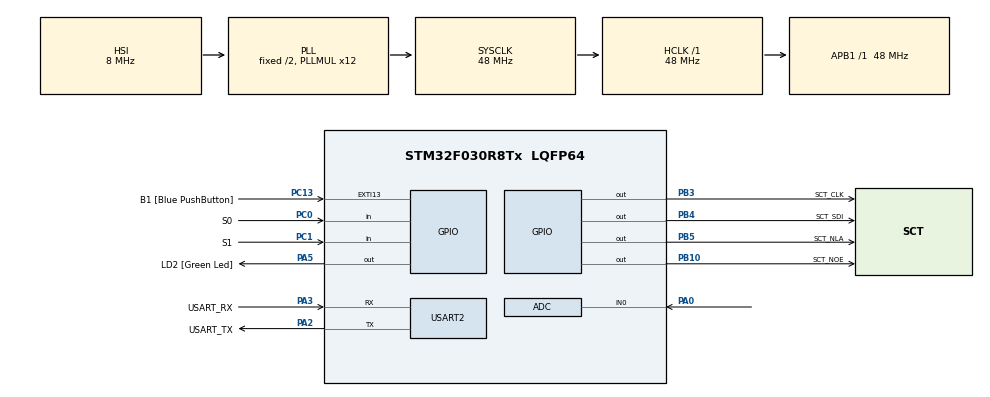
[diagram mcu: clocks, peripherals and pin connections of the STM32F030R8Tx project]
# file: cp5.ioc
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ADC.ContinuousConvMode=ENABLE
ADC.Overrun=ADC_OVR_DATA_OVERWRITTEN
ADC.SamplingTime=ADC_SAMPLETIME_239CYCLES_5
Mcu.Family=STM32F0
Mcu.Name=STM32F030R8Tx
Mcu.Package=LQFP64
NVIC.ADC1_IRQn=true\:0\:0\:false\:false\:true\:true\:true\:true
PA0.Mode=IN0
PA0.Signal=ADC_IN0
PA13.GPIO_Label=TMS
PA13.Mode=Serial_Wire
PA13.Signal=SYS_SWDIO
PA14.GPIO_Label=TCK
PA14.Mode=Serial_Wire
PA14.Signal=SYS_SWCLK
PA2.GPIO_Label=USART_TX
PA2.GPIO_Mode=GPIO_MODE_AF_PP
PA2.GPIO_PuPd=GPIO_NOPULL
PA2.GPIO_Speed=GPIO_SPEED_FREQ_LOW
PA2.Mode=Asynchronous
PA2.Signal=USART2_TX
PA3.GPIO_Label=USART_RX
PA3.GPIO_Mode=GPIO_MODE_AF_PP
PA3.GPIO_PuPd=GPIO_NOPULL
PA3.GPIO_Speed=GPIO_SPEED_FREQ_LOW
PA3.Mode=Asynchronous
PA3.Signal=USART2_RX
PA5.GPIO_Label=LD2 [Green Led]
PA5.GPIO_Mode=GPIO_MODE_OUTPUT_PP
PA5.GPIO_PuPd=GPIO_NOPULL
PA5.GPIO_Speed=GPIO_SPEED_FREQ_LOW
PA5.Signal=GPIO_Output
PB10.GPIO_Label=SCT_NOE
PB10.Signal=GPIO_Output
PB3.GPIO_Label=SCT_CLK
PB3.Signal=GPIO_Output
PB4.GPIO_Label=SCT_SDI
PB4.Signal=GPIO_Output
PB5.GPIO_Label=SCT_NLA
PB5.Signal=GPIO_Output
PC0.GPIO_Label=S0
PC0.GPIO_PuPd=GPIO_PULLUP
PC0.Signal=GPIO_Input
PC1.GPIO_Label=S1
PC1.GPIO_PuPd=GPIO_PULLUP
PC1.Signal=GPIO_Input
PC13.GPIO_Label=B1 [Blue PushButton]
PC13.GPIO_ModeDefaultEXTI=GPIO_MODE_IT_FALLING
PC13.Signal=GPXTI13
PC14-OSC32_IN.Mode=LSE-External-Oscillator
PC14-OSC32_IN.Signal=RCC_OSC32_IN
PC15-OSC32_OUT.Mode=LSE-External-Oscillator
PC15-OSC32_OUT.Signal=RCC_OSC32_OUT
PF0-OSC_IN.Mode=HSE-External-Clock-Source
PF0-OSC_IN.Signal=RCC_OSC_IN
PF1-OSC_OUT.Signal=RCC_OSC_OUT
ProjectManager.HeapSize=0x200
ProjectManager.StackSize=0x400
ProjectManager.TargetToolchain=STM32CubeIDE
RCC.AHBFreq_Value=48000000
RCC.APB1Freq_Value=48000000
RCC.APB1TimFreq_Value=48000000
RCC.HCLKFreq_Value=48000000
RCC.PLLMUL=RCC_PLL_MUL12
RCC.SYSCLKFreq_VALUE=48000000
RCC.SYSCLKSource=RCC_SYSCLKSOURCE_PLLCLK
USART2.VirtualMode-Asynchronous=VM_ASYNC
VP_ADC_TempSens_Input.Mode=IN-TempSens
VP_ADC_Vref_Input.Mode=IN-Vrefint
board=NUCLEO-F030R8

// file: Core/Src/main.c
/* USER CODE BEGIN Header */
/**
 ******************************************************************************
 * @file           : main.c
 * @brief          : Main program body
 ******************************************************************************
 * @attention
 *
 * Copyright (c) 2024 STMicroelectronics.
 * All rights reserved.
 *
 * This software is licensed under terms that can be found in the LICENSE file
 * in the root directory of this software component.
 * If no LICENSE file comes with this software, it is provided AS-IS.
 *
 ******************************************************************************
 */
/* USER CODE END Header */
#include "main.h"

/* USER CODE BEGIN Includes */
#include "sct.h"
/* USER CODE END Includes */

/* USER CODE BEGIN PD */

#define ADC_Q 14
#define TEMP110_CAL_ADDR ((uint16_t*) ((uint32_t) 0x1FFFF7C2))
#define TEMP30_CAL_ADDR ((uint16_t*) ((uint32_t) 0x1FFFF7B8))
#define VREFINT_CAL_ADDR ((uint16_t*) ((uint32_t) 0x1FFFF7BA))

/* USER CODE END PD */

ADC_HandleTypeDef hadc;

UART_HandleTypeDef huart2;

/* USER CODE BEGIN PV */

static volatile uint32_t raw_pot;
static volatile uint32_t raw_temp;
static volatile uint32_t raw_volt;

/* USER CODE END PV */

void SystemClock_Config(void);
static void MX_GPIO_Init(void);
static void MX_USART2_UART_Init(void);
static void MX_ADC_Init(void);

/* USER CODE BEGIN 0 */

void HAL_ADC_ConvCpltCallback(ADC_HandleTypeDef* hadc)
{
	static uint8_t channel = 0;
	static uint32_t avg_pot;

	//

	switch (channel)
	{
	case 0: //	IN0 - potenciometr
		raw_pot = avg_pot >> ADC_Q;
		avg_pot -= raw_pot;
		avg_pot += HAL_ADC_GetValue(hadc);
		break;

	case 1:	// Teplota

		raw_temp = HAL_ADC_GetValue(hadc);
		break;

	case 2:	//	Napeti

		raw_volt = HAL_ADC_GetValue(hadc);
		break;

	default:
		break;
	}

	//raw_pot = HAL_ADC_GetValue(hadc);

	if (__HAL_ADC_GET_FLAG(hadc, ADC_FLAG_EOS)) channel = 0;
	else channel++;

}

/* USER CODE END 0 */

int main(void)
{

	/* MCU Configuration--------------------------------------------------------*/

	/* Reset of all peripherals, Initializes the Flash interface and the Systick. */
	HAL_Init();

	/* Configure the system clock */
	SystemClock_Config();

	/* Initialize all configured peripherals */
	MX_GPIO_Init();
	MX_USART2_UART_Init();
	MX_ADC_Init();
	/* USER CODE BEGIN 2 */

	HAL_ADCEx_Calibration_Start(&hadc);
	HAL_ADC_Start_IT(&hadc);

	sct_init();

	/* USER CODE END 2 */

	/* Infinite loop */
	/* USER CODE BEGIN WHILE */
	while (1)
	{

		static enum { SHOW_POT, SHOW_VOLT, SHOW_TEMP } state = SHOW_POT;
		static uint32_t delay;

		if ((HAL_GPIO_ReadPin(S0_GPIO_Port, S0_Pin)) != 1 )
		{
		state = SHOW_TEMP;
		delay = HAL_GetTick();
		}

		if ((HAL_GPIO_ReadPin(S1_GPIO_Port, S1_Pin)) != 1)
		{
		state = SHOW_VOLT;
		delay = HAL_GetTick();
		}

		switch(state)
		{

		case SHOW_POT:

			sct_value((raw_pot*500.5)/4095);
			break;

		case SHOW_VOLT:

			uint32_t voltage = 330 * (*VREFINT_CAL_ADDR) / raw_volt;
			sct_value(voltage);
			break;

		default: // teplota
			uint32_t temperature = (raw_temp - (int32_t)(*TEMP30_CAL_ADDR));
			temperature = temperature * (int32_t)(110 - 30);
			temperature = temperature / (int32_t)(*TEMP110_CAL_ADDR - *TEMP30_CAL_ADDR);
			temperature = temperature + 30;
			sct_value(temperature);
			break;
		}

		if 	(HAL_GetTick() > delay + 1000)
		{
			state = SHOW_POT;
		}

		/* USER CODE END WHILE */

	}
}

void SystemClock_Config(void)
{
	RCC_OscInitTypeDef RCC_OscInitStruct = {0};
	RCC_ClkInitTypeDef RCC_ClkInitStruct = {0};

	/** Initializes the RCC Oscillators according to the specified parameters
	 * in the RCC_OscInitTypeDef structure.
	 */
	RCC_OscInitStruct.OscillatorType = RCC_OSCILLATORTYPE_HSI|RCC_OSCILLATORTYPE_HSI14;
	RCC_OscInitStruct.HSIState = RCC_HSI_ON;
	RCC_OscInitStruct.HSI14State = RCC_HSI14_ON;
	RCC_OscInitStruct.HSICalibrationValue = RCC_HSICALIBRATION_DEFAULT;
	RCC_OscInitStruct.HSI14CalibrationValue = 16;
	RCC_OscInitStruct.PLL.PLLState = RCC_PLL_ON;
	RCC_OscInitStruct.PLL.PLLSource = RCC_PLLSOURCE_HSI;
	RCC_OscInitStruct.PLL.PLLMUL = RCC_PLL_MUL12;
	RCC_OscInitStruct.PLL.PREDIV = RCC_PREDIV_DIV1;
	if (HAL_RCC_OscConfig(&RCC_OscInitStruct) != HAL_OK)
	{
		Error_Handler();
	}

	/** Initializes the CPU, AHB and APB buses clocks
	 */
	RCC_ClkInitStruct.ClockType = RCC_CLOCKTYPE_HCLK|RCC_CLOCKTYPE_SYSCLK
			|RCC_CLOCKTYPE_PCLK1;
	RCC_ClkInitStruct.SYSCLKSource = RCC_SYSCLKSOURCE_PLLCLK;
	RCC_ClkInitStruct.AHBCLKDivider = RCC_SYSCLK_DIV1;
	RCC_ClkInitStruct.APB1CLKDivider = RCC_HCLK_DIV1;

	if (HAL_RCC_ClockConfig(&RCC_ClkInitStruct, FLASH_LATENCY_1) != HAL_OK)
	{
		Error_Handler();
	}
}

static void MX_ADC_Init(void)
{

	ADC_ChannelConfTypeDef sConfig = {0};

	/** Configure the global features of the ADC (Clock, Resolution, Data Alignment and number of conversion)
	 */
	hadc.Instance = ADC1;
	hadc.Init.ClockPrescaler = ADC_CLOCK_ASYNC_DIV1;
	hadc.Init.Resolution = ADC_RESOLUTION_12B;
	hadc.Init.DataAlign = ADC_DATAALIGN_RIGHT;
	hadc.Init.ScanConvMode = ADC_SCAN_DIRECTION_FORWARD;
	hadc.Init.EOCSelection = ADC_EOC_SINGLE_CONV;
	hadc.Init.LowPowerAutoWait = DISABLE;
	hadc.Init.LowPowerAutoPowerOff = DISABLE;
	hadc.Init.ContinuousConvMode = ENABLE;
	hadc.Init.DiscontinuousConvMode = DISABLE;
	hadc.Init.ExternalTrigConv = ADC_SOFTWARE_START;
	hadc.Init.ExternalTrigConvEdge = ADC_EXTERNALTRIGCONVEDGE_NONE;
	hadc.Init.DMAContinuousRequests = DISABLE;
	hadc.Init.Overrun = ADC_OVR_DATA_OVERWRITTEN;
	if (HAL_ADC_Init(&hadc) != HAL_OK)
	{
		Error_Handler();
	}

	/** Configure for the selected ADC regular channel to be converted.
	 */
	sConfig.Channel = ADC_CHANNEL_0;
	sConfig.Rank = ADC_RANK_CHANNEL_NUMBER;
	sConfig.SamplingTime = ADC_SAMPLETIME_239CYCLES_5;
	if (HAL_ADC_ConfigChannel(&hadc, &sConfig) != HAL_OK)
	{
		Error_Handler();
	}

	/** Configure for the selected ADC regular channel to be converted.
	 */
	sConfig.Channel = ADC_CHANNEL_TEMPSENSOR;
	if (HAL_ADC_ConfigChannel(&hadc, &sConfig) != HAL_OK)
	{
		Error_Handler();
	}

	/** Configure for the selected ADC regular channel to be converted.
	 */
	sConfig.Channel = ADC_CHANNEL_VREFINT;
	if (HAL_ADC_ConfigChannel(&hadc, &sConfig) != HAL_OK)
	{
		Error_Handler();
	}

}

static void MX_USART2_UART_Init(void)
{

	huart2.Instance = USART2;
	huart2.Init.BaudRate = 38400;
	huart2.Init.WordLength = UART_WORDLENGTH_8B;
	huart2.Init.StopBits = UART_STOPBITS_1;
	huart2.Init.Parity = UART_PARITY_NONE;
	huart2.Init.Mode = UART_MODE_TX_RX;
	huart2.Init.HwFlowCtl = UART_HWCONTROL_NONE;
	huart2.Init.OverSampling = UART_OVERSAMPLING_16;
	huart2.Init.OneBitSampling = UART_ONE_BIT_SAMPLE_DISABLE;
	huart2.AdvancedInit.AdvFeatureInit = UART_ADVFEATURE_NO_INIT;
	if (HAL_UART_Init(&huart2) != HAL_OK)
	{
		Error_Handler();
	}

}

static void MX_GPIO_Init(void)
{
	GPIO_InitTypeDef GPIO_InitStruct = {0};

	/* GPIO Ports Clock Enable */
	__HAL_RCC_GPIOC_CLK_ENABLE();
	__HAL_RCC_GPIOF_CLK_ENABLE();
	__HAL_RCC_GPIOA_CLK_ENABLE();
	__HAL_RCC_GPIOB_CLK_ENABLE();

	/*Configure GPIO pin Output Level */
	HAL_GPIO_WritePin(LD2_GPIO_Port, LD2_Pin, GPIO_PIN_RESET);

	/*Configure GPIO pin Output Level */
	HAL_GPIO_WritePin(GPIOB, SCT_NOE_Pin|SCT_CLK_Pin|SCT_SDI_Pin|SCT_NLA_Pin, GPIO_PIN_RESET);

	/*Configure GPIO pin : B1_Pin */
	GPIO_InitStruct.Pin = B1_Pin;
	GPIO_InitStruct.Mode = GPIO_MODE_IT_FALLING;
	GPIO_InitStruct.Pull = GPIO_NOPULL;
	HAL_GPIO_Init(B1_GPIO_Port, &GPIO_InitStruct);

	/*Configure GPIO pins : S0_Pin S1_Pin */
	GPIO_InitStruct.Pin = S0_Pin|S1_Pin;
	GPIO_InitStruct.Mode = GPIO_MODE_INPUT;
	GPIO_InitStruct.Pull = GPIO_PULLUP;
	HAL_GPIO_Init(GPIOC, &GPIO_InitStruct);

	/*Configure GPIO pin : LD2_Pin */
	GPIO_InitStruct.Pin = LD2_Pin;
	GPIO_InitStruct.Mode = GPIO_MODE_OUTPUT_PP;
	GPIO_InitStruct.Pull = GPIO_NOPULL;
	GPIO_InitStruct.Speed = GPIO_SPEED_FREQ_LOW;
	HAL_GPIO_Init(LD2_GPIO_Port, &GPIO_InitStruct);

	/*Configure GPIO pins : SCT_NOE_Pin SCT_CLK_Pin SCT_SDI_Pin SCT_NLA_Pin */
	GPIO_InitStruct.Pin = SCT_NOE_Pin|SCT_CLK_Pin|SCT_SDI_Pin|SCT_NLA_Pin;
	GPIO_InitStruct.Mode = GPIO_MODE_OUTPUT_PP;
	GPIO_InitStruct.Pull = GPIO_NOPULL;
	GPIO_InitStruct.Speed = GPIO_SPEED_FREQ_LOW;
	HAL_GPIO_Init(GPIOB, &GPIO_InitStruct);

}

void Error_Handler(void)
{
	__disable_irq();
	while (1)
	{
	}
}
